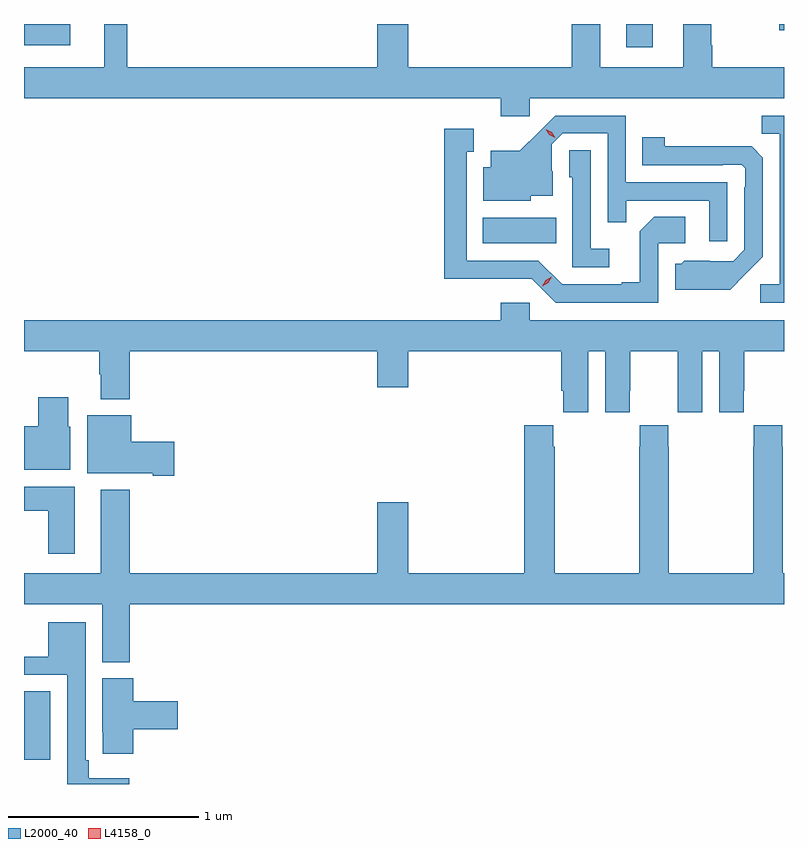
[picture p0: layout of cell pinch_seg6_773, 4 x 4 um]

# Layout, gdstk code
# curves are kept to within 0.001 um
import gdstk
lib = gdstk.Library(unit=1e-6, precision=1e-09)
def R(c, l, rs):  # rectangles x0, y0, x1, y1
    for r in rs: c.add(gdstk.rectangle(r[:2], r[2:], *l))
def P(c, l, *ps):  # polygons
    for p in ps: c.add(gdstk.Polygon(p, *l))
L2000_40 = (2000, 40)
L4158_0 = (4158, 0)

pinch_seg6_773 = lib.new_cell('pinch_seg6_773')
R(pinch_seg6_773, L2000_40, [(163.149,987.81,163.288,988.172), (165.563,990.53,165.95,990.664), (166.319,991.56,166.459,991.683), (163.149,991.571,163.393,991.683), (167.125,991.65,167.149,991.683)])
P(pinch_seg6_773, L2000_40, [(165.172,991.683),(165.008,991.683),(165.008,991.456),(163.693,991.456),(163.693,991.683),(163.571,991.683),(163.571,991.456),(163.149,991.456),(163.149,991.292),(165.659,991.292),(165.659,991.197),(165.81,991.197),(165.81,991.292),(167.149,991.292),(167.149,991.456),(166.772,991.456),(166.772,991.572),(166.767,991.572),(166.767,991.683),(166.619,991.683),(166.619,991.456),(166.183,991.456),(166.183,991.683),(166.031,991.683),(166.031,991.456),(165.172,991.456)],
  [(166.851,990.849),(166.317,990.849),(166.317,991.2),(165.944,991.2),(165.757,991.015),(165.605,991.015),(165.605,990.928),(165.566,990.928),(165.566,990.752),(165.816,990.752),(165.816,990.779),(165.931,990.779),(165.931,990.908),(165.927,990.908),(165.927,991.05),(165.984,991.107),(166.221,991.107),(166.221,990.64),(166.319,990.64),(166.319,990.753),(166.755,990.753),(166.755,990.54),(166.851,990.54)],
  [(167.149,991.2),(167.032,991.2),(167.032,991.105),(167.127,991.105),(167.127,990.312),(167.025,990.312),(167.025,990.216),(167.149,990.216)],
  [(166.488,990.528),(166.63,990.528),(166.63,990.668),(166.465,990.668),(166.389,990.592),(166.389,990.325),(166.295,990.325),(166.295,990.312),(165.981,990.312),(165.855,990.438),(165.478,990.438),(165.478,991.011),(165.517,991.011),(165.517,991.132),(165.36,991.132),(165.36,990.341),(165.822,990.342),(165.948,990.216),(166.488,990.216)],
  [(166.945,990.365),(167.037,990.458),(167.037,990.98),(166.978,991.039),(166.521,991.04),(166.521,991.087),(166.402,991.087),(166.402,990.939),(166.826,990.939),(166.826,990.942),(166.926,990.942),(166.944,990.924),(166.944,990.824),(166.941,990.824),(166.941,990.495),(166.881,990.435),(166.624,990.436),(166.608,990.42),(166.577,990.42),(166.577,990.284),(166.865,990.284)],
  [(166.228,990.499),(166.131,990.499),(166.131,991.019),(166.02,991.019),(166.02,990.876),(166.035,990.876),(166.035,990.402),(166.228,990.402)],
  [(165.81,990.217),(165.659,990.217),(165.659,990.124),(163.149,990.124),(163.149,989.96),(163.546,989.96),(163.546,989.84),(163.553,989.84),(163.553,989.708),(163.706,989.708),(163.706,989.96),(165.008,989.96),(165.008,989.772),(165.172,989.772),(165.172,989.96),(165.977,989.96),(165.977,989.752),(165.986,989.752),(165.986,989.64),(166.12,989.64),(166.12,989.96),(166.208,989.96),(166.208,989.64),(166.338,989.64),(166.338,989.752),(166.339,989.752),(166.339,989.96),(166.589,989.96),(166.589,989.752),(166.59,989.752),(166.59,989.64),(166.72,989.64),(166.72,989.96),(166.808,989.96),(166.808,989.64),(166.938,989.64),(166.938,989.752),(166.939,989.752),(166.939,989.96),(167.149,989.96),(167.149,990.124),(165.81,990.124)],
  [(163.393,989.562),(163.381,989.562),(163.381,989.719),(163.223,989.719),(163.223,989.566),(163.149,989.566),(163.149,989.336),(163.393,989.336)],
  [(163.939,989.484),(163.714,989.484),(163.714,989.623),(163.481,989.623),(163.481,989.318),(163.826,989.318),(163.826,989.306),(163.939,989.306)],
  [(167.149,988.792),(167.142,988.792),(167.142,989.459),(167.139,989.459),(167.139,989.572),(166.989,989.572),(166.989,989.459),(166.987,989.459),(166.987,988.792),(166.542,988.792),(166.542,989.459),(166.539,989.459),(166.539,989.572),(166.389,989.572),(166.389,989.459),(166.387,989.459),(166.387,988.792),(165.942,988.792),(165.942,989.459),(165.935,989.459),(165.935,989.572),(165.782,989.572),(165.782,988.792),(165.172,988.792),(165.172,989.167),(165.008,989.167),(165.008,988.792),(163.706,988.792),(163.706,989.233),(163.553,989.233),(163.553,988.792),(163.149,988.792),(163.149,988.628),(163.562,988.628),(163.562,988.324),(163.706,988.324),(163.706,988.628),(167.149,988.628)],
  [(163.417,989.248),(163.149,989.248),(163.149,989.12),(163.277,989.12),(163.277,988.896),(163.417,988.896)],
  [(163.702,987.712),(163.489,987.712),(163.489,987.808),(163.473,987.808),(163.473,988.534),(163.277,988.534),(163.277,988.353),(163.149,988.353),(163.149,988.257),(163.377,988.257),(163.377,987.683),(163.702,987.683)],
  [(163.724,987.971),(163.957,987.971),(163.957,988.118),(163.724,988.118),(163.724,988.239),(163.562,988.239),(163.562,987.955),(163.563,987.955),(163.563,987.843),(163.724,987.843)])
P(pinch_seg6_773, L4158_0, [(165.945,991.084),(165.914,991.099),(165.896,991.129),(165.896,991.129),(165.896,991.129),(165.927,991.114),(165.945,991.085),(165.945,991.084)],
  [(165.876,990.302),(165.876,990.302),(165.894,990.335),(165.926,990.353),(165.927,990.353),(165.927,990.353),(165.909,990.321),(165.876,990.302)])

lib.write_gds('pinch_seg6_773.gds')
